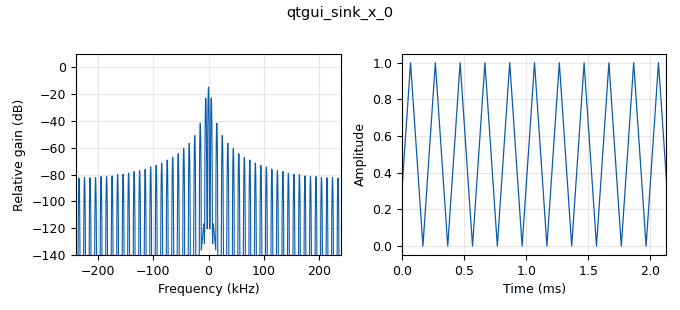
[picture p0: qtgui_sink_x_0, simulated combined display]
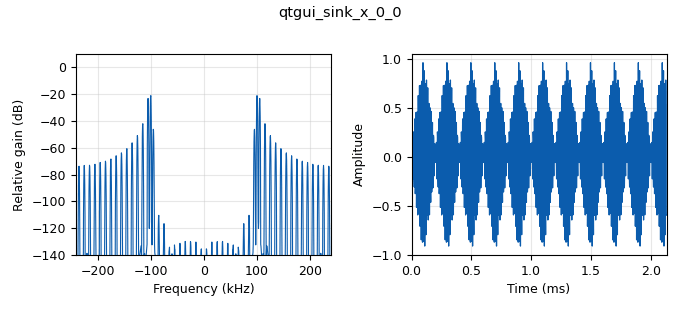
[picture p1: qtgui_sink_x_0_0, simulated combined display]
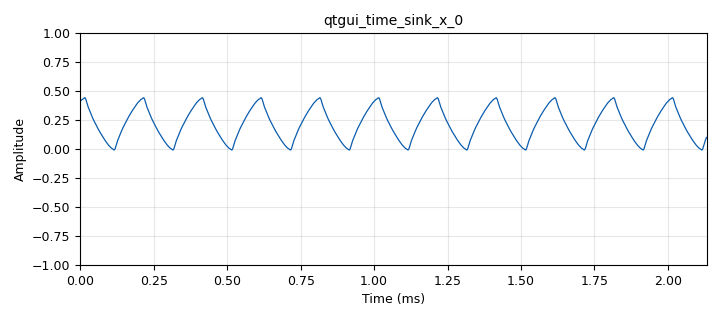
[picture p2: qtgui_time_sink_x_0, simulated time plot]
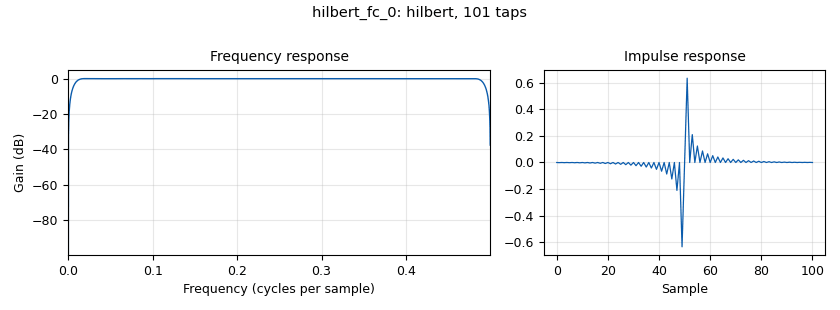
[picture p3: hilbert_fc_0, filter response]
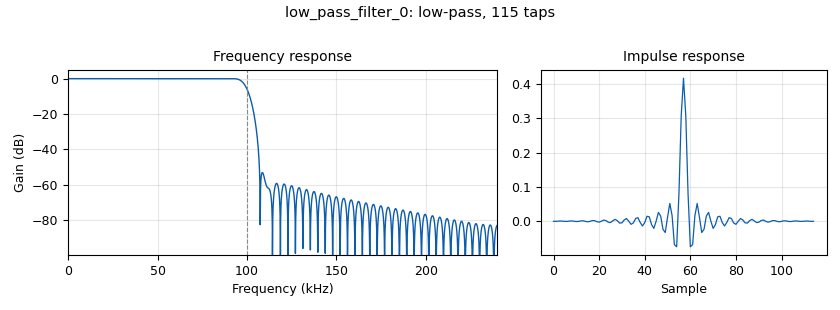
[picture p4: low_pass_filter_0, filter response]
<?xml version='1.0' encoding='utf-8'?>
<?grc format='1' created='3.7.11'?>
<flow_graph>
<block>
<key>options</key>
<param><key>id</key><value>top_block</value></param>
<param><key>generate_options</key><value>qt_gui</value></param>
</block>
<block>
<key>variable</key>
<param><key>id</key><value>samp_rate</value></param>
<param><key>value</key><value>480e3</value></param>
</block>
<block>
<key>analog_sig_source_x</key>
<param><key>id</key><value>analog_sig_source_x_0</value></param>
<param><key>amp</key><value>1</value></param>
<param><key>freq</key><value>5e3</value></param>
<param><key>offset</key><value>0</value></param>
<param><key>type</key><value>float</value></param>
<param><key>samp_rate</key><value>samp_rate</value></param>
<param><key>waveform</key><value>analog.GR_TRI_WAVE</value></param>
</block>
<block>
<key>analog_sig_source_x</key>
<param><key>id</key><value>analog_sig_source_x_1</value></param>
<param><key>amp</key><value>1</value></param>
<param><key>freq</key><value>100e3</value></param>
<param><key>offset</key><value>0</value></param>
<param><key>type</key><value>complex</value></param>
<param><key>samp_rate</key><value>samp_rate</value></param>
<param><key>waveform</key><value>analog.GR_COS_WAVE</value></param>
</block>
<block>
<key>blocks_complex_to_real</key>
<param><key>id</key><value>blocks_complex_to_real_0</value></param>
</block>
<block>
<key>blocks_complex_to_real</key>
<param><key>id</key><value>blocks_complex_to_real_1</value></param>
</block>
<block>
<key>blocks_multiply_xx</key>
<param><key>id</key><value>blocks_multiply_xx_0</value></param>
<param><key>type</key><value>complex</value></param>
</block>
<block>
<key>blocks_multiply_xx</key>
<param><key>id</key><value>blocks_multiply_xx_1</value></param>
<param><key>type</key><value>float</value></param>
</block>
<block>
<key>blocks_throttle</key>
<param><key>id</key><value>blocks_throttle_0</value></param>
<param><key>samples_per_second</key><value>samp_rate</value></param>
<param><key>type</key><value>float</value></param>
</block>
<block>
<key>blocks_throttle</key>
<param><key>id</key><value>blocks_throttle_0_0</value></param>
<param><key>samples_per_second</key><value>samp_rate</value></param>
<param><key>type</key><value>float</value></param>
</block>
<block>
<key>blocks_throttle</key>
<param><key>id</key><value>blocks_throttle_1</value></param>
<param><key>samples_per_second</key><value>samp_rate</value></param>
<param><key>type</key><value>float</value></param>
</block>
<block>
<key>dc_blocker_xx</key>
<param><key>id</key><value>dc_blocker_xx_0</value></param>
<param><key>length</key><value>32</value></param>
<param><key>long_form</key><value>True</value></param>
<param><key>type</key><value>ff</value></param>
</block>
<block>
<key>hilbert_fc</key>
<param><key>id</key><value>hilbert_fc_0</value></param>
<param><key>num_taps</key><value>100</value></param>
<param><key>win</key><value>firdes.WIN_HAMMING</value></param>
</block>
<block>
<key>low_pass_filter</key>
<param><key>id</key><value>low_pass_filter_0</value></param>
<param><key>cutoff_freq</key><value>100e3</value></param>
<param><key>decim</key><value>1</value></param>
<param><key>type</key><value>fir_filter_fff</value></param>
<param><key>gain</key><value>1</value></param>
<param><key>samp_rate</key><value>samp_rate</value></param>
<param><key>width</key><value>10e3</value></param>
<param><key>win</key><value>firdes.WIN_HAMMING</value></param>
</block>
<block>
<key>qtgui_sink_x</key>
<param><key>id</key><value>qtgui_sink_x_0</value></param>
<param><key>bw</key><value>samp_rate</value></param>
<param><key>fc</key><value>0</value></param>
<param><key>freqchangevar</key><value>None</value></param>
<param><key>fftsize</key><value>1024</value></param>
<param><key>showports</key><value>True</value></param>
<param><key>type</key><value>float</value></param>
<param><key>wintype</key><value>firdes.WIN_BLACKMAN_hARRIS</value></param>
</block>
<block>
<key>qtgui_sink_x</key>
<param><key>id</key><value>qtgui_sink_x_0_0</value></param>
<param><key>bw</key><value>samp_rate</value></param>
<param><key>fc</key><value>0</value></param>
<param><key>freqchangevar</key><value>None</value></param>
<param><key>fftsize</key><value>1024</value></param>
<param><key>showports</key><value>True</value></param>
<param><key>type</key><value>float</value></param>
<param><key>wintype</key><value>firdes.WIN_BLACKMAN_hARRIS</value></param>
</block>
<block>
<key>qtgui_sink_x</key>
<param><key>id</key><value>qtgui_sink_x_0_0_0</value></param>
<param><key>bw</key><value>samp_rate</value></param>
<param><key>fc</key><value>0</value></param>
<param><key>freqchangevar</key><value>None</value></param>
<param><key>_enabled</key><value>0</value></param>
<param><key>fftsize</key><value>1024</value></param>
<param><key>showports</key><value>True</value></param>
<param><key>type</key><value>float</value></param>
<param><key>wintype</key><value>firdes.WIN_BLACKMAN_hARRIS</value></param>
</block>
<block>
<key>qtgui_time_sink_x</key>
<param><key>id</key><value>qtgui_time_sink_x_0</value></param>
<param><key>ctrlpanel</key><value>True</value></param>
<param><key>color1</key><value>"blue"</value></param>
<param><key>label1</key><value></value></param>
<param><key>size</key><value>1024</value></param>
<param><key>srate</key><value>samp_rate</value></param>
<param><key>type</key><value>float</value></param>
</block>
<connection><source_block_id>analog_sig_source_x_0</source_block_id><sink_block_id>blocks_throttle_0</sink_block_id><source_key>0</source_key><sink_key>0</sink_key></connection>
<connection><source_block_id>analog_sig_source_x_0</source_block_id><sink_block_id>hilbert_fc_0</sink_block_id><source_key>0</source_key><sink_key>0</sink_key></connection>
<connection><source_block_id>analog_sig_source_x_1</source_block_id><sink_block_id>blocks_complex_to_real_1</sink_block_id><source_key>0</source_key><sink_key>0</sink_key></connection>
<connection><source_block_id>analog_sig_source_x_1</source_block_id><sink_block_id>blocks_multiply_xx_0</sink_block_id><source_key>0</source_key><sink_key>1</sink_key></connection>
<connection><source_block_id>blocks_complex_to_real_0</source_block_id><sink_block_id>dc_blocker_xx_0</sink_block_id><source_key>0</source_key><sink_key>0</sink_key></connection>
<connection><source_block_id>blocks_complex_to_real_1</source_block_id><sink_block_id>blocks_multiply_xx_1</sink_block_id><source_key>0</source_key><sink_key>1</sink_key></connection>
<connection><source_block_id>blocks_multiply_xx_0</source_block_id><sink_block_id>blocks_complex_to_real_0</sink_block_id><source_key>0</source_key><sink_key>0</sink_key></connection>
<connection><source_block_id>blocks_multiply_xx_1</source_block_id><sink_block_id>low_pass_filter_0</sink_block_id><source_key>0</source_key><sink_key>0</sink_key></connection>
<connection><source_block_id>blocks_throttle_0</source_block_id><sink_block_id>qtgui_sink_x_0</sink_block_id><source_key>0</source_key><sink_key>0</sink_key></connection>
<connection><source_block_id>blocks_throttle_0_0</source_block_id><sink_block_id>qtgui_sink_x_0_0</sink_block_id><source_key>0</source_key><sink_key>0</sink_key></connection>
<connection><source_block_id>blocks_throttle_1</source_block_id><sink_block_id>qtgui_sink_x_0_0_0</sink_block_id><source_key>0</source_key><sink_key>0</sink_key></connection>
<connection><source_block_id>blocks_throttle_1</source_block_id><sink_block_id>qtgui_time_sink_x_0</sink_block_id><source_key>0</source_key><sink_key>0</sink_key></connection>
<connection><source_block_id>dc_blocker_xx_0</source_block_id><sink_block_id>blocks_multiply_xx_1</sink_block_id><source_key>0</source_key><sink_key>0</sink_key></connection>
<connection><source_block_id>dc_blocker_xx_0</source_block_id><sink_block_id>blocks_throttle_0_0</sink_block_id><source_key>0</source_key><sink_key>0</sink_key></connection>
<connection><source_block_id>hilbert_fc_0</source_block_id><sink_block_id>blocks_multiply_xx_0</sink_block_id><source_key>0</source_key><sink_key>0</sink_key></connection>
<connection><source_block_id>low_pass_filter_0</source_block_id><sink_block_id>blocks_throttle_1</sink_block_id><source_key>0</source_key><sink_key>0</sink_key></connection>
</flow_graph>
